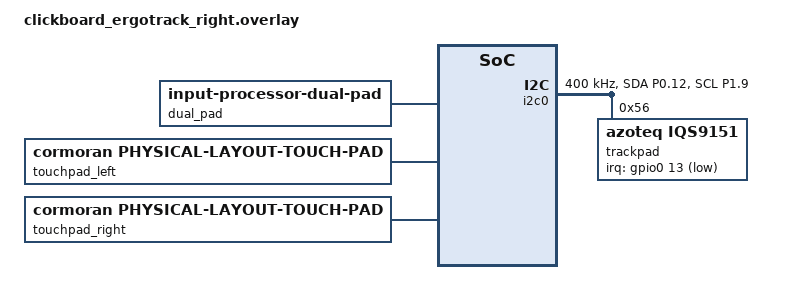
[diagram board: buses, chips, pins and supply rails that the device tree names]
#include "clickboard_ergotrack.dtsi"
#include <dt-bindings/pinctrl/nrf-pinctrl.h>
#include <zephyr/dt-bindings/input/input-event-codes.h>
#include <input/processors.dtsi>
#include <dt-bindings/zmk/input_transform.h>
#include <dt-bindings/zmk/zip_dynamic_scale.h>

/ {
    behaviors {
        /* トラックパッドのジェスチャーを仮想キー位置の押下に変換する */
        tp_to_pos: tp_to_pos {
            compatible = "zmk,behavior-trackpad-to-pos";
            #binding-cells = <1>;
        };
    };

    /* 左右各1本指を1つのジェスチャーとして扱う。ズーム中はCmdを保持する
       (macOS。Windows/Linuxなら &kp LCTRL に変更) */
    dual_pad: dual_pad {
        compatible = "zmk,input-processor-dual-pad";
        #input-processor-cells = <2>;
        scroll-start = <30>;
        zoom-start = <60>;
        scroll-divisor = <16>;
        zoom-divisor = <24>;
        invert-scroll;
        invert-zoom;
        /* 修飾キーは直接指定せず仮想キー位置(pos77)を叩く。こうするとレイヤーで
           解決されるので、OS判定でレイヤーを切り替えれば修飾キーも一緒に変わるし、
           Keeb-On! Studio から再ビルドなしで変更できる */
        bindings = <&tp_to_pos 77>;
    };

    /* ジェスチャーのBTNイベントを仮想キー位置へ流し直す(元のマウスボタン出力は中和) */
    trackpad_gestures: trackpad_gestures {
        compatible = "zmk,input-processor-behaviors-consume";
        #input-processor-cells = <0>;
        type = <INPUT_EV_KEY>;
        codes = <INPUT_BTN_7 INPUT_BTN_3 INPUT_BTN_4 INPUT_BTN_5 INPUT_BTN_6>;
        bindings = <
            &tp_to_pos 72
            &tp_to_pos 73
            &tp_to_pos 74
            &tp_to_pos 75
            &tp_to_pos 76
        >;
    };

    /* 実行時に倍率を変えられるスケーラ(値はsettingsに保存され再起動後も維持) */
    zip_dynamic_xy_scaler: zip_dynamic_xy_scaler {
        compatible = "zmk,input-processor-dynamic-scaler";
        #input-processor-cells = <0>;
        type = <INPUT_EV_REL>;
        codes = <INPUT_REL_X INPUT_REL_Y>;
        scale-group = <ZDS_XY>;
        track-remainders;
    };

    zip_dynamic_scroll_scaler: zip_dynamic_scroll_scaler {
        compatible = "zmk,input-processor-dynamic-scaler";
        #input-processor-cells = <0>;
        type = <INPUT_EV_REL>;
        codes = <INPUT_REL_WHEEL INPUT_REL_HWHEEL>;
        scale-group = <ZDS_SC>;
        track-remainders;
    };

    split_inputs {
        #address-cells = <1>;
        #size-cells = <0>;

        pointing_device_split: pointing_device_split@0 {
            compatible = "zmk,input-split";
            reg = <0>;
        };
    };

    pointing_device_split_listener: pointing_device_split_listener {
        compatible = "zmk,input-listener";
        device = <&pointing_device_split>;
        input-processors = <
            &trackpad_gestures
            &zip_xy_transform INPUT_TRANSFORM_XY_SWAP
            &zip_xy_transform INPUT_TRANSFORM_X_INVERT
            &zip_scroll_transform INPUT_TRANSFORM_XY_SWAP
            &zip_scroll_transform INPUT_TRANSFORM_X_INVERT
            &zip_scroll_scaler 1 16
            &zip_dynamic_scroll_scaler
            &zip_dynamic_xy_scaler
            &dual_pad 0 0
        >;
        status = "okay";

        /* レイヤー3(=左クリック保持中)は通常動作。両手連携より先に書くことで優先される */
        drag_mode {
            layers = <2>;
            input-processors = <
                &trackpad_gestures
                &zip_xy_transform INPUT_TRANSFORM_XY_SWAP
                &zip_xy_transform INPUT_TRANSFORM_X_INVERT
                &zip_scroll_transform INPUT_TRANSFORM_XY_SWAP
                &zip_scroll_transform INPUT_TRANSFORM_X_INVERT
                &zip_scroll_scaler 1 16
                &zip_dynamic_scroll_scaler
                &zip_dynamic_xy_scaler
            >;
        };
    };

    trackpad_listener {
        compatible = "zmk,input-listener";
        device = <&trackpad>;
        input-processors = <
            &trackpad_gestures
            &zip_xy_transform INPUT_TRANSFORM_XY_SWAP
            &zip_xy_transform INPUT_TRANSFORM_Y_INVERT
            &zip_scroll_transform INPUT_TRANSFORM_XY_SWAP
            &zip_scroll_transform INPUT_TRANSFORM_Y_INVERT
            &zip_scroll_scaler 1 16
            &zip_dynamic_scroll_scaler
            &zip_dynamic_xy_scaler
            &dual_pad 1 0
        >;
        status = "okay"; 

        /* レイヤー3(=左クリック保持中)は通常動作。両手連携より先に書くことで優先される */
        drag_mode {
            layers = <2>;
            input-processors = <
                &trackpad_gestures
                &zip_xy_transform INPUT_TRANSFORM_XY_SWAP
                &zip_xy_transform INPUT_TRANSFORM_Y_INVERT
                &zip_scroll_transform INPUT_TRANSFORM_XY_SWAP
                &zip_scroll_transform INPUT_TRANSFORM_Y_INVERT
                &zip_scroll_scaler 1 16
                &zip_dynamic_scroll_scaler
                &zip_dynamic_xy_scaler
            >;
        };
    };

    /* --- Keeb-On! Studio にトラックパッドの位置を伝える ---
       キーの物理レイアウトは ZMK 公式のプロトコルで送られるが、キー以外の
       部品(トラックパッド/トラックボール/エンコーダー)は公式プロトコルに
       口が無い。zmk-feature-module-physical-layout がその口を足していて、
       アプリはこれを読んでキーマップ画面にパッドを描く。
       このノードが無いとアプリ側は「モジュール無し」と判断して何も描かない。

       座標系はキーの物理レイアウト(clickboard_ergotrack-layouts.dtsi)と同じ。
       100 = 1u。キーは x 0..1925 / y 0..800 の範囲にあるので、パッドはその
       下(y=820)に、左右それぞれの主要キー列の中央へ置いてある。
       実機の見た目と合わなければこの4つの数値だけ動かせばよい。 */

    touchpad_left: touchpad_left {
        compatible = "cormoran,physical-layout-touch-pad";
        display-name = "Touch Pad (Left)";
        width = <240>;
        height = <180>;
        x = <205>;
        y = <820>;
        linked-device-identifiers = "trackpad_left";
        linked-subsystems = "zmk__touch_pad";
    };

    touchpad_right: touchpad_right {
        compatible = "cormoran,physical-layout-touch-pad";
        display-name = "Touch Pad (Right)";
        width = <240>;
        height = <180>;
        x = <1480>;
        y = <820>;
        linked-device-identifiers = "trackpad_right";
        linked-subsystems = "zmk__touch_pad";
    };

};

&default_transform {
    col-offset = <6>;
};

&kscan0 {
    diode-direction = "col2row";
    row-gpios = <&akdk_d 17 (GPIO_ACTIVE_HIGH | GPIO_PULL_DOWN)>,
        <&akdk_d 18 (GPIO_ACTIVE_HIGH | GPIO_PULL_DOWN)>,
        <&akdk_d 11 (GPIO_ACTIVE_HIGH | GPIO_PULL_DOWN)>,
        <&akdk_d 14 (GPIO_ACTIVE_HIGH | GPIO_PULL_DOWN)>,
        <&akdk_d 15 (GPIO_ACTIVE_HIGH | GPIO_PULL_DOWN)>,
        <&akdk_d 16 (GPIO_ACTIVE_HIGH | GPIO_PULL_DOWN)>;
    col-gpios = <&akdk_d 3 (GPIO_ACTIVE_HIGH)>,
        <&akdk_d 4 (GPIO_ACTIVE_HIGH)>,
        <&akdk_d 5 (GPIO_ACTIVE_HIGH)>,
        <&akdk_d 6 (GPIO_ACTIVE_HIGH)>,
        <&akdk_d 12 (GPIO_ACTIVE_HIGH)>,
        <&akdk_d 13 (GPIO_ACTIVE_HIGH)>;
    wakeup-source;
};

&pinctrl {
    i2c0_default: i2c0_default {
        group1 {
            psels = <NRF_PSEL(TWIM_SDA, 0, 12)>,
                    <NRF_PSEL(TWIM_SCL, 1, 9)>;
            bias-pull-up;
        };
    };

    i2c0_sleep: i2c0_sleep {
        group1 {
            psels = <NRF_PSEL(TWIM_SDA, 0, 12)>,
                    <NRF_PSEL(TWIM_SCL, 1, 9)>;
            bias-pull-up;
            low-power-enable;
        };
    };
};

&i2c0 {
    status = "okay";
    compatible = "nordic,nrf-twim";
    pinctrl-0 = <&i2c0_default>;
    pinctrl-1 = <&i2c0_sleep>;
    pinctrl-names = "default", "sleep";
    clock-frequency = <I2C_BITRATE_FAST>;
    zephyr,concat-buf-size = <32>;

    trackpad: trackpad@56 {
        status = "okay";
        compatible = "azoteq,iqs9151";
        reg = <0x56>;
        irq-gpios = <&gpio0 13 (GPIO_ACTIVE_LOW | GPIO_PULL_UP)>; 
    };
};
